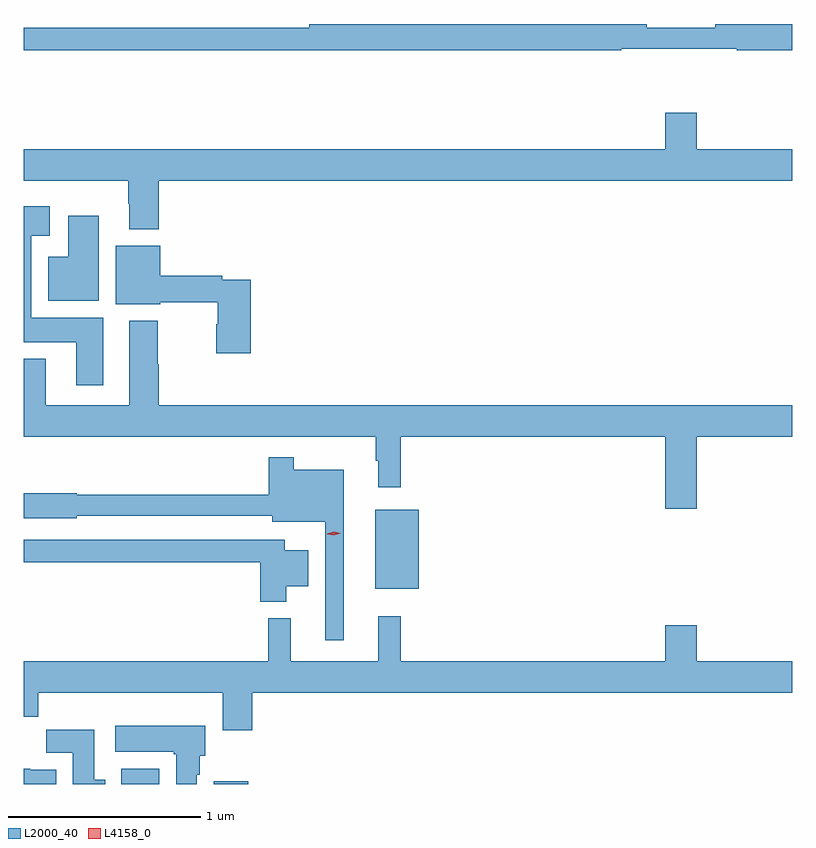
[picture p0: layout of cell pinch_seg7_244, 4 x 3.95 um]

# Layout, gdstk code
import gdstk
lib = gdstk.Library(unit=1e-6, precision=1e-09)
def R(c, l, rs):  # rectangles x0, y0, x1, y1
    for r in rs: c.add(gdstk.rectangle(r[:2], r[2:], *l))
def P(c, l, *ps):  # polygons
    for p in ps: c.add(gdstk.Polygon(p, *l))
L2000_40 = (2000, 40)
L4158_0 = (4158, 0)

pinch_seg7_244 = lib.new_cell('pinch_seg7_244')
R(pinch_seg7_244, L2000_40, [(821.519,1077.398,821.716,1077.478), (821.999,1077.398,822.178,1077.412), (822.839,1078.415,823.066,1078.825)])
P(pinch_seg7_244, L2000_40, [(824.12,1081.224),(824.72,1081.224),(824.72,1081.216),(825.01,1081.216),(825.01,1081.352),(824.608,1081.352),(824.608,1081.333),(824.252,1081.333),(824.252,1081.352),(822.496,1081.352),(822.496,1081.332),(821.01,1081.332),(821.01,1081.216),(824.12,1081.216)],
  [(821.714,1080.536),(825.01,1080.536),(825.01,1080.7),(824.512,1080.7),(824.512,1080.889),(824.348,1080.889),(824.348,1080.7),(821.01,1080.7),(821.01,1080.536),(821.554,1080.536),(821.554,1080.416),(821.561,1080.416),(821.561,1080.284),(821.714,1080.284)],
  [(821.425,1079.824),(821.05,1079.824),(821.05,1080.251),(821.146,1080.251),(821.146,1080.403),(821.01,1080.403),(821.01,1079.696),(821.285,1079.696),(821.285,1079.472),(821.425,1079.472)],
  [(821.401,1080.355),(821.243,1080.355),(821.243,1080.142),(821.138,1080.142),(821.138,1079.912),(821.401,1079.912)],
  [(822.191,1080.021),(822.044,1080.021),(822.044,1080.041),(821.722,1080.041),(821.722,1080.199),(821.489,1080.199),(821.489,1079.894),(821.722,1079.894),(821.722,1079.905),(822.02,1079.905),(822.02,1079.79),(822.013,1079.79),(822.013,1079.64),(822.191,1079.64)],
  [(824.512,1079.204),(825.01,1079.204),(825.01,1079.368),(821.714,1079.368),(821.714,1079.583),(821.709,1079.583),(821.709,1079.809),(821.561,1079.809),(821.561,1079.368),(821.125,1079.368),(821.125,1079.611),(821.01,1079.611),(821.01,1079.204),(822.843,1079.204),(822.843,1079.081),(822.854,1079.081),(822.854,1078.941),(822.971,1078.941),(822.971,1079.204),(824.348,1079.204),(824.348,1078.83),(824.512,1078.83)],
  [(822.676,1079.032),(822.415,1079.032),(822.415,1079.098),(822.286,1079.098),(822.286,1078.903),(821.286,1078.903),(821.286,1078.911),(821.01,1078.911),(821.01,1078.781),(821.286,1078.781),(821.286,1078.794),(822.305,1078.794),(822.305,1078.763),(822.579,1078.763),(822.579,1078.146),(822.676,1078.146)],
  [(822.376,1078.427),(822.49,1078.427),(822.49,1078.615),(822.37,1078.615),(822.37,1078.668),(821.01,1078.668),(821.01,1078.552),(822.242,1078.552),(822.242,1078.346),(822.376,1078.346)],
  [(822.2,1077.872),(825.01,1077.872),(825.01,1078.036),(824.512,1078.036),(824.512,1078.225),(824.348,1078.225),(824.348,1078.036),(822.971,1078.036),(822.971,1078.27),(822.854,1078.27),(822.854,1078.036),(822.401,1078.036),(822.401,1078.261),(822.283,1078.261),(822.283,1078.036),(821.01,1078.036),(821.01,1077.748),(821.087,1077.748),(821.087,1077.872),(822.047,1077.872),(822.047,1077.678),(822.2,1077.678)],
  [(821.911,1077.446),(821.926,1077.446),(821.926,1077.546),(821.956,1077.546),(821.956,1077.7),(821.487,1077.7),(821.487,1077.566),(821.791,1077.566),(821.791,1077.553),(821.804,1077.553),(821.804,1077.398),(821.911,1077.398)],
  [(821.434,1077.42),(821.377,1077.42),(821.377,1077.679),(821.128,1077.679),(821.128,1077.56),(821.267,1077.56),(821.267,1077.398),(821.434,1077.398)],
  [(821.179,1077.472),(821.046,1077.472),(821.046,1077.478),(821.01,1077.478),(821.01,1077.398),(821.179,1077.398)])
P(pinch_seg7_244, L4158_0, [(822.625,1078.691),(822.589,1078.698),(822.589,1078.698),(822.589,1078.699),(822.624,1078.711),(822.66,1078.703),(822.66,1078.703),(822.66,1078.703)])

lib.write_gds('pinch_seg7_244.gds')
